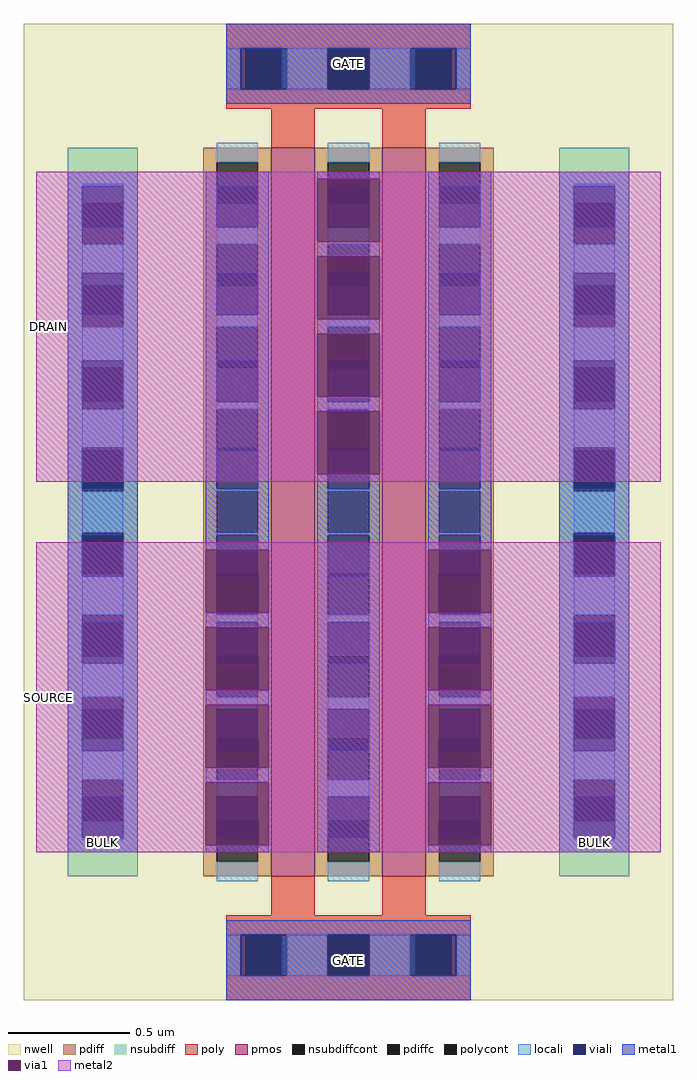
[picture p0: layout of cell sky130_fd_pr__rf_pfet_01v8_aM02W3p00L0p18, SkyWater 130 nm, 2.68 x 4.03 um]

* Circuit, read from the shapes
.subckt sky130_fd_pr__rf_pfet_01v8_aM02W3p00L0p18 BULK DRAIN GATE SOURCE
XM1 DRAIN GATE SOURCE BULK sky130_fd_pr__pfet_01v8 w=3.01 l=0.18 m=2
.ends

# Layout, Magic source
magic
tech sky130A
magscale 1 2
<< nwell >>
rect 0 0 536 806
<< pmos >>
rect 204 102 240 704
rect 296 102 332 704
<< pdiff >>
rect 148 692 204 704
rect 148 658 159 692
rect 193 658 204 692
rect 148 624 204 658
rect 148 590 159 624
rect 193 590 204 624
rect 148 556 204 590
rect 148 522 159 556
rect 193 522 204 556
rect 148 488 204 522
rect 148 454 159 488
rect 193 454 204 488
rect 148 420 204 454
rect 148 386 159 420
rect 193 386 204 420
rect 148 352 204 386
rect 148 318 159 352
rect 193 318 204 352
rect 148 284 204 318
rect 148 250 159 284
rect 193 250 204 284
rect 148 216 204 250
rect 148 182 159 216
rect 193 182 204 216
rect 148 148 204 182
rect 148 114 159 148
rect 193 114 204 148
rect 148 102 204 114
rect 240 692 296 704
rect 240 658 251 692
rect 285 658 296 692
rect 240 624 296 658
rect 240 590 251 624
rect 285 590 296 624
rect 240 556 296 590
rect 240 522 251 556
rect 285 522 296 556
rect 240 488 296 522
rect 240 454 251 488
rect 285 454 296 488
rect 240 420 296 454
rect 240 386 251 420
rect 285 386 296 420
rect 240 352 296 386
rect 240 318 251 352
rect 285 318 296 352
rect 240 284 296 318
rect 240 250 251 284
rect 285 250 296 284
rect 240 216 296 250
rect 240 182 251 216
rect 285 182 296 216
rect 240 148 296 182
rect 240 114 251 148
rect 285 114 296 148
rect 240 102 296 114
rect 332 692 388 704
rect 332 658 343 692
rect 377 658 388 692
rect 332 624 388 658
rect 332 590 343 624
rect 377 590 388 624
rect 332 556 388 590
rect 332 522 343 556
rect 377 522 388 556
rect 332 488 388 522
rect 332 454 343 488
rect 377 454 388 488
rect 332 420 388 454
rect 332 386 343 420
rect 377 386 388 420
rect 332 352 388 386
rect 332 318 343 352
rect 377 318 388 352
rect 332 284 388 318
rect 332 250 343 284
rect 377 250 388 284
rect 332 216 388 250
rect 332 182 343 216
rect 377 182 388 216
rect 332 148 388 182
rect 332 114 343 148
rect 377 114 388 148
rect 332 102 388 114
<< pdiffc >>
rect 159 658 193 692
rect 159 590 193 624
rect 159 522 193 556
rect 159 454 193 488
rect 159 386 193 420
rect 159 318 193 352
rect 159 250 193 284
rect 159 182 193 216
rect 159 114 193 148
rect 251 658 285 692
rect 251 590 285 624
rect 251 522 285 556
rect 251 454 285 488
rect 251 386 285 420
rect 251 318 285 352
rect 251 250 285 284
rect 251 182 285 216
rect 251 114 285 148
rect 343 658 377 692
rect 343 590 377 624
rect 343 522 377 556
rect 343 454 377 488
rect 343 386 377 420
rect 343 318 377 352
rect 343 250 377 284
rect 343 182 377 216
rect 343 114 377 148
<< nsubdiff >>
rect 36 658 94 704
rect 36 624 48 658
rect 82 624 94 658
rect 36 590 94 624
rect 36 556 48 590
rect 82 556 94 590
rect 36 522 94 556
rect 36 488 48 522
rect 82 488 94 522
rect 36 454 94 488
rect 36 420 48 454
rect 82 420 94 454
rect 36 386 94 420
rect 36 352 48 386
rect 82 352 94 386
rect 36 318 94 352
rect 36 284 48 318
rect 82 284 94 318
rect 36 250 94 284
rect 36 216 48 250
rect 82 216 94 250
rect 36 182 94 216
rect 36 148 48 182
rect 82 148 94 182
rect 36 102 94 148
rect 442 658 500 704
rect 442 624 454 658
rect 488 624 500 658
rect 442 590 500 624
rect 442 556 454 590
rect 488 556 500 590
rect 442 522 500 556
rect 442 488 454 522
rect 488 488 500 522
rect 442 454 500 488
rect 442 420 454 454
rect 488 420 500 454
rect 442 386 500 420
rect 442 352 454 386
rect 488 352 500 386
rect 442 318 500 352
rect 442 284 454 318
rect 488 284 500 318
rect 442 250 500 284
rect 442 216 454 250
rect 488 216 500 250
rect 442 182 500 216
rect 442 148 454 182
rect 488 148 500 182
rect 442 102 500 148
<< nsubdiffcont >>
rect 48 624 82 658
rect 48 556 82 590
rect 48 488 82 522
rect 48 420 82 454
rect 48 352 82 386
rect 48 284 82 318
rect 48 216 82 250
rect 48 148 82 182
rect 454 624 488 658
rect 454 556 488 590
rect 454 488 488 522
rect 454 420 488 454
rect 454 352 488 386
rect 454 284 488 318
rect 454 216 488 250
rect 454 148 488 182
<< poly >>
rect 167 786 369 806
rect 167 752 183 786
rect 217 752 251 786
rect 285 752 319 786
rect 353 752 369 786
rect 167 736 369 752
rect 204 704 240 736
rect 296 704 332 736
rect 204 70 240 102
rect 296 70 332 102
rect 167 54 369 70
rect 167 20 183 54
rect 217 20 251 54
rect 285 20 319 54
rect 353 20 369 54
rect 167 0 369 20
<< polycont >>
rect 183 752 217 786
rect 251 752 285 786
rect 319 752 353 786
rect 183 20 217 54
rect 251 20 285 54
rect 319 20 353 54
<< locali >>
rect 167 752 179 786
rect 217 752 251 786
rect 285 752 319 786
rect 357 752 369 786
rect 159 692 193 708
rect 48 672 82 674
rect 48 600 82 624
rect 48 528 82 556
rect 48 456 82 488
rect 48 386 82 420
rect 48 318 82 350
rect 48 250 82 278
rect 48 182 82 206
rect 48 132 82 134
rect 159 624 193 638
rect 159 556 193 566
rect 159 488 193 494
rect 159 420 193 422
rect 159 384 193 386
rect 159 312 193 318
rect 159 240 193 250
rect 159 168 193 182
rect 159 98 193 114
rect 251 692 285 708
rect 251 624 285 638
rect 251 556 285 566
rect 251 488 285 494
rect 251 420 285 422
rect 251 384 285 386
rect 251 312 285 318
rect 251 240 285 250
rect 251 168 285 182
rect 251 98 285 114
rect 343 692 377 708
rect 343 624 377 638
rect 343 556 377 566
rect 343 488 377 494
rect 343 420 377 422
rect 343 384 377 386
rect 343 312 377 318
rect 343 240 377 250
rect 343 168 377 182
rect 454 672 488 674
rect 454 600 488 624
rect 454 528 488 556
rect 454 456 488 488
rect 454 386 488 420
rect 454 318 488 350
rect 454 250 488 278
rect 454 182 488 206
rect 454 132 488 134
rect 343 98 377 114
rect 167 20 179 54
rect 217 20 251 54
rect 285 20 319 54
rect 357 20 369 54
<< viali >>
rect 179 752 183 786
rect 183 752 213 786
rect 251 752 285 786
rect 323 752 353 786
rect 353 752 357 786
rect 48 658 82 672
rect 48 638 82 658
rect 48 590 82 600
rect 48 566 82 590
rect 48 522 82 528
rect 48 494 82 522
rect 48 454 82 456
rect 48 422 82 454
rect 48 352 82 384
rect 48 350 82 352
rect 48 284 82 312
rect 48 278 82 284
rect 48 216 82 240
rect 48 206 82 216
rect 48 148 82 168
rect 48 134 82 148
rect 159 658 193 672
rect 159 638 193 658
rect 159 590 193 600
rect 159 566 193 590
rect 159 522 193 528
rect 159 494 193 522
rect 159 454 193 456
rect 159 422 193 454
rect 159 352 193 384
rect 159 350 193 352
rect 159 284 193 312
rect 159 278 193 284
rect 159 216 193 240
rect 159 206 193 216
rect 159 148 193 168
rect 159 134 193 148
rect 251 658 285 672
rect 251 638 285 658
rect 251 590 285 600
rect 251 566 285 590
rect 251 522 285 528
rect 251 494 285 522
rect 251 454 285 456
rect 251 422 285 454
rect 251 352 285 384
rect 251 350 285 352
rect 251 284 285 312
rect 251 278 285 284
rect 251 216 285 240
rect 251 206 285 216
rect 251 148 285 168
rect 251 134 285 148
rect 343 658 377 672
rect 343 638 377 658
rect 343 590 377 600
rect 343 566 377 590
rect 343 522 377 528
rect 343 494 377 522
rect 343 454 377 456
rect 343 422 377 454
rect 343 352 377 384
rect 343 350 377 352
rect 343 284 377 312
rect 343 278 377 284
rect 343 216 377 240
rect 343 206 377 216
rect 343 148 377 168
rect 343 134 377 148
rect 454 658 488 672
rect 454 638 488 658
rect 454 590 488 600
rect 454 566 488 590
rect 454 522 488 528
rect 454 494 488 522
rect 454 454 488 456
rect 454 422 488 454
rect 454 352 488 384
rect 454 350 488 352
rect 454 284 488 312
rect 454 278 488 284
rect 454 216 488 240
rect 454 206 488 216
rect 454 148 488 168
rect 454 134 488 148
rect 179 20 183 54
rect 183 20 213 54
rect 251 20 285 54
rect 323 20 353 54
rect 353 20 357 54
<< metal1 >>
rect 167 786 369 806
rect 167 752 179 786
rect 213 752 251 786
rect 285 752 323 786
rect 357 752 369 786
rect 167 740 369 752
rect 36 672 94 684
rect 36 638 48 672
rect 82 638 94 672
rect 36 600 94 638
rect 36 566 48 600
rect 82 566 94 600
rect 36 528 94 566
rect 36 494 48 528
rect 82 494 94 528
rect 36 456 94 494
rect 36 422 48 456
rect 82 422 94 456
rect 36 384 94 422
rect 36 350 48 384
rect 82 350 94 384
rect 36 312 94 350
rect 36 278 48 312
rect 82 278 94 312
rect 36 240 94 278
rect 36 206 48 240
rect 82 206 94 240
rect 36 168 94 206
rect 36 134 48 168
rect 82 134 94 168
rect 36 122 94 134
rect 150 672 202 684
rect 150 638 159 672
rect 193 638 202 672
rect 150 600 202 638
rect 150 566 159 600
rect 193 566 202 600
rect 150 528 202 566
rect 150 494 159 528
rect 193 494 202 528
rect 150 456 202 494
rect 150 422 159 456
rect 193 422 202 456
rect 150 384 202 422
rect 150 372 159 384
rect 193 372 202 384
rect 150 312 202 320
rect 150 308 159 312
rect 193 308 202 312
rect 150 244 202 256
rect 150 180 202 192
rect 150 122 202 128
rect 242 678 294 684
rect 242 614 294 626
rect 242 550 294 562
rect 242 494 251 498
rect 285 494 294 498
rect 242 486 294 494
rect 242 422 251 434
rect 285 422 294 434
rect 242 384 294 422
rect 242 350 251 384
rect 285 350 294 384
rect 242 312 294 350
rect 242 278 251 312
rect 285 278 294 312
rect 242 240 294 278
rect 242 206 251 240
rect 285 206 294 240
rect 242 168 294 206
rect 242 134 251 168
rect 285 134 294 168
rect 242 122 294 134
rect 334 672 386 684
rect 334 638 343 672
rect 377 638 386 672
rect 334 600 386 638
rect 334 566 343 600
rect 377 566 386 600
rect 334 528 386 566
rect 334 494 343 528
rect 377 494 386 528
rect 334 456 386 494
rect 334 422 343 456
rect 377 422 386 456
rect 334 384 386 422
rect 334 372 343 384
rect 377 372 386 384
rect 334 312 386 320
rect 334 308 343 312
rect 377 308 386 312
rect 334 244 386 256
rect 334 180 386 192
rect 334 122 386 128
rect 442 672 500 684
rect 442 638 454 672
rect 488 638 500 672
rect 442 600 500 638
rect 442 566 454 600
rect 488 566 500 600
rect 442 528 500 566
rect 442 494 454 528
rect 488 494 500 528
rect 442 456 500 494
rect 442 422 454 456
rect 488 422 500 456
rect 442 384 500 422
rect 442 350 454 384
rect 488 350 500 384
rect 442 312 500 350
rect 442 278 454 312
rect 488 278 500 312
rect 442 240 500 278
rect 442 206 454 240
rect 488 206 500 240
rect 442 168 500 206
rect 442 134 454 168
rect 488 134 500 168
rect 442 122 500 134
rect 167 54 369 66
rect 167 20 179 54
rect 213 20 251 54
rect 285 20 323 54
rect 357 20 369 54
rect 167 0 369 20
<< via1 >>
rect 150 350 159 372
rect 159 350 193 372
rect 193 350 202 372
rect 150 320 202 350
rect 150 278 159 308
rect 159 278 193 308
rect 193 278 202 308
rect 150 256 202 278
rect 150 240 202 244
rect 150 206 159 240
rect 159 206 193 240
rect 193 206 202 240
rect 150 192 202 206
rect 150 168 202 180
rect 150 134 159 168
rect 159 134 193 168
rect 193 134 202 168
rect 150 128 202 134
rect 242 672 294 678
rect 242 638 251 672
rect 251 638 285 672
rect 285 638 294 672
rect 242 626 294 638
rect 242 600 294 614
rect 242 566 251 600
rect 251 566 285 600
rect 285 566 294 600
rect 242 562 294 566
rect 242 528 294 550
rect 242 498 251 528
rect 251 498 285 528
rect 285 498 294 528
rect 242 456 294 486
rect 242 434 251 456
rect 251 434 285 456
rect 285 434 294 456
rect 334 350 343 372
rect 343 350 377 372
rect 377 350 386 372
rect 334 320 386 350
rect 334 278 343 308
rect 343 278 377 308
rect 377 278 386 308
rect 334 256 386 278
rect 334 240 386 244
rect 334 206 343 240
rect 343 206 377 240
rect 377 206 386 240
rect 334 192 386 206
rect 334 168 386 180
rect 334 134 343 168
rect 343 134 377 168
rect 377 134 386 168
rect 334 128 386 134
<< metal2 >>
rect 10 678 526 684
rect 10 626 242 678
rect 294 626 526 678
rect 10 614 526 626
rect 10 562 242 614
rect 294 562 526 614
rect 10 550 526 562
rect 10 498 242 550
rect 294 498 526 550
rect 10 486 526 498
rect 10 434 242 486
rect 294 434 526 486
rect 10 428 526 434
rect 10 372 526 378
rect 10 320 150 372
rect 202 320 334 372
rect 386 320 526 372
rect 10 308 526 320
rect 10 256 150 308
rect 202 256 334 308
rect 386 256 526 308
rect 10 244 526 256
rect 10 192 150 244
rect 202 192 334 244
rect 386 192 526 244
rect 10 180 526 192
rect 10 128 150 180
rect 202 128 334 180
rect 386 128 526 180
rect 10 122 526 128
<< labels >>
flabel metal2 s 10 122 30 378 7 FreeSans 300 180 0 0 SOURCE
port 4 nsew
flabel metal2 s 10 428 30 684 7 FreeSans 300 180 0 0 DRAIN
port 2 nsew
flabel metal1 s 167 740 369 806 0 FreeSans 300 0 0 0 GATE
port 3 nsew
flabel metal1 s 167 0 369 66 0 FreeSans 300 0 0 0 GATE
port 3 nsew
flabel metal1 s 442 122 500 138 3 FreeSans 300 90 0 0 BULK
port 1 nsew
flabel metal1 s 36 122 94 138 3 FreeSans 300 90 0 0 BULK
port 1 nsew
<< properties >>
string GDS_FILE $PDKPATH/libs.ref/sky130_fd_pr/gds/sky130_fd_pr.gds
string GDS_END 9331404
string GDS_START 9320488
<< end >>
